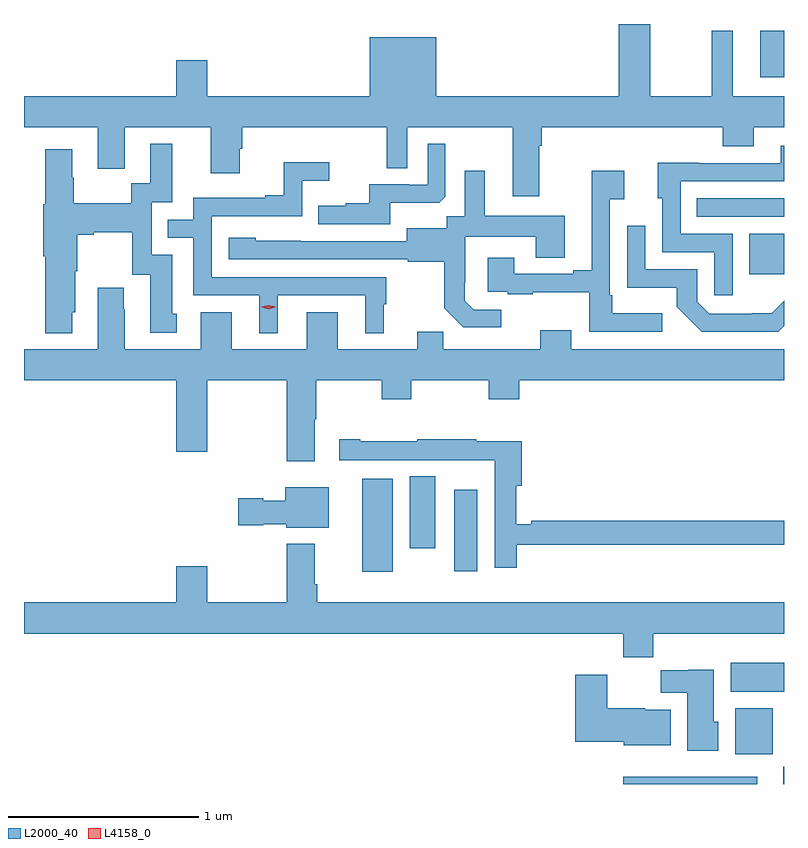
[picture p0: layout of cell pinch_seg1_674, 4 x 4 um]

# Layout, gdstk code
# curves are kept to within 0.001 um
import gdstk
lib = gdstk.Library(unit=1e-6, precision=1e-09)
def R(c, l, rs):  # rectangles x0, y0, x1, y1
    for r in rs: c.add(gdstk.rectangle(r[:2], r[2:], *l))
def P(c, l, *ps):  # polygons
    for p in ps: c.add(gdstk.Polygon(p, *l))
L2000_40 = (2000, 40)
L4158_0 = (4158, 0)

pinch_seg1_674 = lib.new_cell('pinch_seg1_674')
R(pinch_seg1_674, L2000_40, [(682.847,565.592,683.551,565.63), (683.687,565.592,683.692,565.682), (683.435,565.748,683.632,565.99), (683.411,566.078,683.692,566.23), (681.473,566.709,681.634,567.199), (681.956,566.712,682.078,567.142), (681.722,566.832,681.856,567.212), (683.51,568.274,683.692,568.489), (683.233,568.578,683.692,568.674), (683.567,569.312,683.692,569.557)])
P(pinch_seg1_674, L2000_40, [(683.422,569.557),(683.313,569.557),(683.313,569.212),(682.987,569.212),(682.987,569.592),(682.823,569.592),(682.823,569.212),(681.862,569.212),(681.862,569.521),(681.512,569.521),(681.512,569.212),(680.656,569.212),(680.656,569.401),(680.492,569.401),(680.492,569.212),(679.692,569.212),(679.692,569.048),(680.081,569.048),(680.081,568.83),(680.221,568.83),(680.221,569.048),(680.675,569.048),(680.675,568.806),(680.827,568.806),(680.827,568.935),(680.84,568.935),(680.84,569.048),(681.6,569.048),(681.6,568.834),(681.708,568.834),(681.708,569.048),(682.265,569.048),(682.265,568.686),(682.405,568.686),(682.405,568.952),(682.418,568.952),(682.418,569.048),(683.369,569.048),(683.369,568.949),(683.533,568.949),(683.533,569.048),(683.692,569.048),(683.692,569.212),(683.422,569.212)],
  [(681.619,568.652),(681.877,568.652),(681.909,568.683),(681.909,568.963),(681.816,568.963),(681.816,568.746),(681.716,568.746),(681.716,568.749),(681.509,568.749),(681.509,568.648),(681.385,568.648),(681.385,568.636),(681.241,568.636),(681.241,568.539),(681.619,568.539)],
  [(679.945,568.074),(679.963,568.074),(679.963,568.291),(679.971,568.291),(679.971,568.484),(680.059,568.484),(680.059,568.496),(680.261,568.496),(680.261,568.272),(680.357,568.272),(680.357,567.966),(680.497,567.966),(680.497,568.068),(680.473,568.068),(680.473,568.377),(680.364,568.377),(680.364,568.653),(680.473,568.653),(680.473,568.963),(680.357,568.963),(680.357,568.754),(680.256,568.754),(680.256,568.648),(679.953,568.648),(679.953,568.782),(679.945,568.782),(679.945,568.933),(679.805,568.933),(679.805,568.644),(679.793,568.644),(679.793,568.369),(679.805,568.369),(679.805,567.965),(679.945,567.965)],
  [(683.421,568.488),(683.148,568.488),(683.148,568.764),(683.692,568.764),(683.692,568.951),(683.675,568.951),(683.675,568.86),(683.245,568.86),(683.245,568.862),(683.027,568.862),(683.027,568.674),(683.052,568.674),(683.052,568.392),(683.325,568.392),(683.325,568.164),(683.421,568.164)],
  [(681.028,568.164),(681.488,568.164),(681.488,567.965),(681.586,567.965),(681.586,568.116),(681.598,568.116),(681.598,568.26),(680.679,568.26),(680.679,568.581),(681.156,568.581),(681.156,568.766),(681.298,568.766),(681.298,568.865),(681.058,568.865),(681.058,568.69),(680.963,568.69),(680.963,568.677),(680.583,568.677),(680.583,568.563),(680.449,568.563),(680.449,568.467),(680.583,568.467),(680.583,568.164),(680.93,568.164),(680.93,567.965),(681.028,567.965)],
  [(683.05,568.069),(682.789,568.069),(682.789,568.165),(682.776,568.165),(682.776,568.67),(682.852,568.67),(682.852,568.819),(682.679,568.819),(682.679,568.297),(682.583,568.297),(682.583,568.278),(682.273,568.278),(682.273,568.363),(682.133,568.363),(682.133,568.182),(682.237,568.182),(682.237,568.17),(682.369,568.17),(682.369,568.181),(682.668,568.181),(682.668,567.972),(683.05,567.972)],
  [(682.204,568.089),(682.059,568.089),(682.012,568.136),(682.012,568.231),(682.014,568.231),(682.014,568.472),(682.385,568.472),(682.385,568.363),(682.537,568.363),(682.537,568.582),(682.117,568.582),(682.117,568.819),(682.013,568.819),(682.013,568.58),(681.918,568.58),(681.918,568.516),(681.707,568.516),(681.707,568.449),(680.913,568.45),(680.913,568.468),(680.769,568.468),(680.769,568.353),(681.711,568.353),(681.711,568.341),(681.903,568.341),(681.903,568.095),(682.003,567.995),(682.204,567.995)],
  [(683.692,568.003),(683.692,568.135),(683.627,568.07),(683.522,568.07),(683.522,568.068),(683.298,568.068),(683.235,568.131),(683.235,568.302),(682.962,568.302),(682.962,568.531),(682.866,568.531),(682.866,568.205),(683.128,568.205),(683.128,568.103),(683.258,567.972),(683.661,567.972)],
  [(681.223,567.512),(681.231,567.512),(681.231,567.716),(681.574,567.716),(681.574,567.617),(681.729,567.617),(681.729,567.716),(682.138,567.716),(682.138,567.617),(682.298,567.617),(682.298,567.716),(683.692,567.716),(683.692,567.88),(682.573,567.88),(682.573,567.979),(682.409,567.979),(682.409,567.88),(681.899,567.88),(681.899,567.971),(681.761,567.971),(681.761,567.88),(681.343,567.88),(681.343,568.075),(681.179,568.075),(681.179,567.88),(680.785,567.88),(680.785,568.075),(680.621,568.075),(680.621,567.88),(680.221,567.88),(680.221,568.091),(680.218,568.091),(680.218,568.204),(680.081,568.204),(680.081,567.88),(679.692,567.88),(679.692,567.716),(680.492,567.716),(680.492,567.342),(680.656,567.342),(680.656,567.716),(681.076,567.716),(681.076,567.291),(681.223,567.291)],
  [(682.286,566.85),(683.692,566.85),(683.692,566.978),(682.363,566.978),(682.363,566.96),(682.282,566.96),(682.282,567.161),(682.313,567.161),(682.313,567.396),(682.073,567.396),(682.073,567.406),(681.763,567.406),(681.763,567.396),(681.463,567.396),(681.463,567.406),(681.351,567.406),(681.351,567.297),(681.96,567.297),(681.96,567.296),(682.17,567.296),(682.17,566.73),(682.286,566.73)],
  [(681.295,567.154),(681.068,567.154),(681.068,567.082),(680.952,567.082),(680.952,567.095),(680.82,567.095),(680.82,566.953),(680.952,566.953),(680.952,566.96),(681.072,566.96),(681.072,566.942),(681.295,566.942)],
  [(683.003,566.384),(683.692,566.384),(683.692,566.548),(681.236,566.548),(681.236,566.644),(681.223,566.644),(681.223,566.857),(681.076,566.857),(681.076,566.548),(680.656,566.548),(680.656,566.737),(680.492,566.737),(680.492,566.548),(679.692,566.548),(679.692,566.384),(682.847,566.384),(682.847,566.26),(683.003,566.26)],
  [(683.347,565.92),(683.323,565.92),(683.323,566.194),(683.187,566.194),(683.187,566.191),(683.044,566.191),(683.044,566.072),(683.183,566.072),(683.183,565.766),(683.347,565.766)],
  [(683.095,565.984),(682.962,565.984),(682.962,565.99),(682.762,565.99),(682.762,566.167),(682.592,566.167),(682.592,565.814),(682.848,565.814),(682.848,565.796),(683.095,565.796)])
P(pinch_seg1_674, L4158_0, [(680.979,568.092),(680.943,568.102),(680.943,568.102),(680.943,568.103),(680.979,568.112),(681.015,568.103),(681.015,568.102),(681.015,568.102)])

lib.write_gds('pinch_seg1_674.gds')
